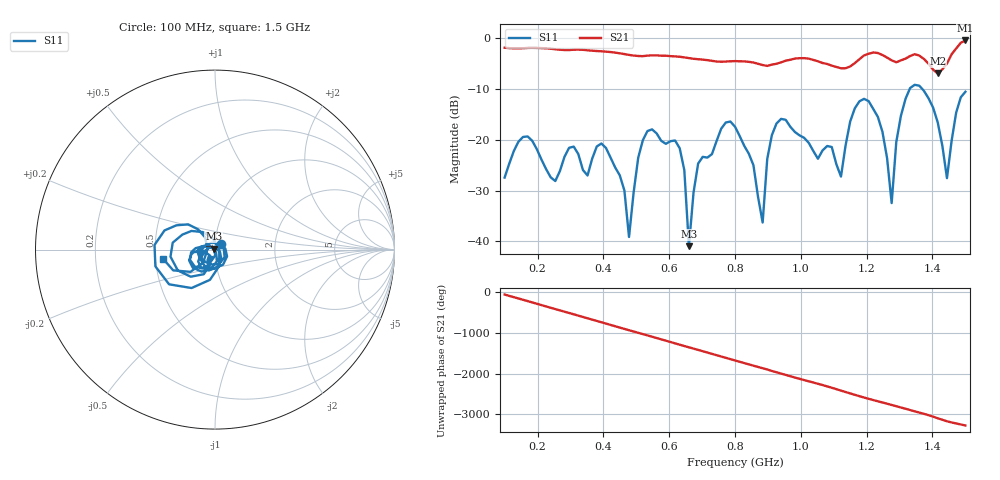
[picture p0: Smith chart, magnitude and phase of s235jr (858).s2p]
! NanoVNA-App
! Date: 2025-09-25 15:10:51
! Start: 100MHz Stop: 1,5GHz Points: 101
! S-Parameter data: F S11 S21 S12 S22
# Hz S RI R 50
!  Frequency  S11_Real  S11_Imag  S21_Real  S21_Imag  S12_Real  S12_Imag  S22_Real  S22_Imag
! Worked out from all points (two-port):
!   101 points, 100 MHz to 1.5 GHz, reference 50 ohm
!   highest |S21| = -0.53 dB at 1.5 GHz (marker M1); lowest = -7.0 dB at 1.416 GHz (marker M2)
!   |S21| within 3 dB of the highest: start of sweep to 497.3 MHz; 531.1 MHz to 590.7 MHz (59.56 MHz wide, 10.6 % of centre) (the widest 2 of 5)
!   lowest |S11| = -40.9 dB at 660 MHz (marker M3), VSWR 1.02, Z = 49.3 + j0.517 ohm
!   |S11| at or under -10 dB: start of sweep to 1.331 GHz; 1.368 GHz to end of sweep
!   S12 and S22 are empty: the file has one direction only
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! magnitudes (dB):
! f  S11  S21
! 100 MHz  -27.5  -2.0
! 170 MHz  -19.4  -2.0
! 338 MHz  -26.0  -2.4
! 408 MHz  -21.6  -2.7
! 478 MHz  -39.1  -3.4
! 520 MHz  -20.1  -3.6
! 576 MHz  -20.3  -3.5
! 632 MHz  -21.7  -3.7
! 660 MHz  -40.9  -4.0
! 688 MHz  -24.7  -4.2
! 800 MHz  -17.5  -4.6
! 884 MHz  -36.3  -5.4
! 926 MHz  -16.9  -5.1
! 1.038 GHz  -22.2  -4.4
! 1.122 GHz  -27.3  -6.0
! 1.206 GHz  -12.4  -3.1
! 1.276 GHz  -32.5  -4.4
! 1.29 GHz  -20.5  -4.8
! 1.332 GHz  -9.9  -3.6
! 1.416 GHz  -16.6  -7.0
! 1.444 GHz  -27.6  -5.1
! 1.5 GHz  -10.6  -0.5
